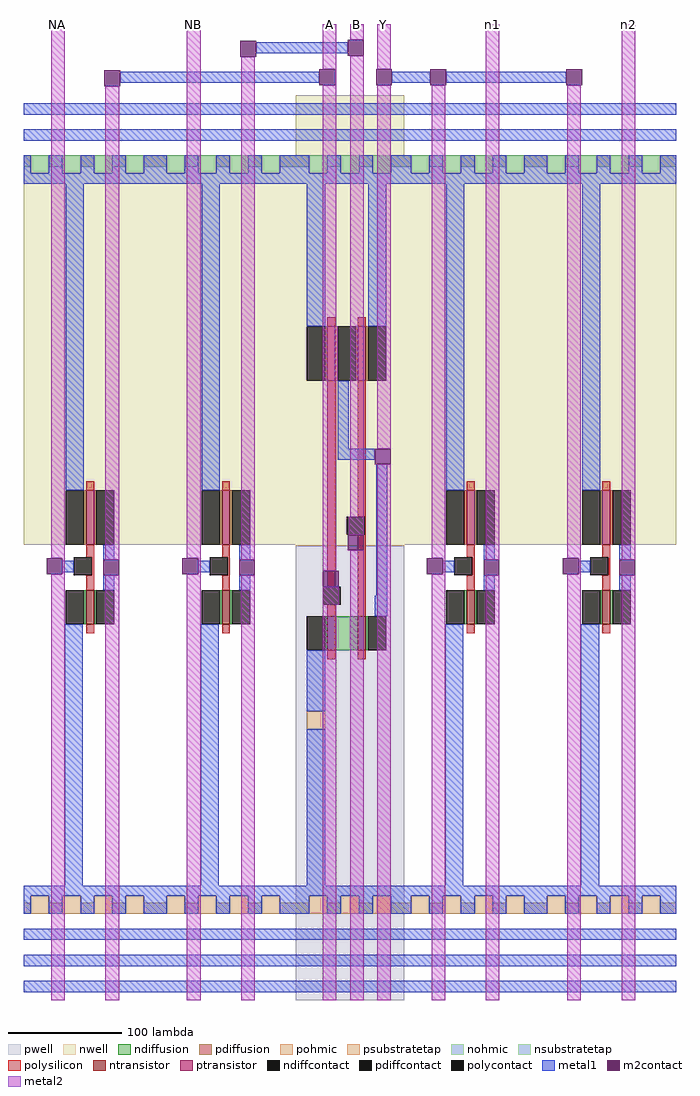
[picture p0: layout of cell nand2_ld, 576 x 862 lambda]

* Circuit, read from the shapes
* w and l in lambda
.subckt nand2_ld A B GND! NA NB Vdd! Y n1 n2
M1 A NA GND! VSUBS nfet w=30 l=7
M2 B NB GND! VSUBS nfet w=30 l=7
M3 n3 A n4 VSUBS nfet w=30 l=7
M4 Y B n3 VSUBS nfet w=30 l=7
M5 n1 Y GND! VSUBS nfet w=30 l=7
M6 n2 Y GND! VSUBS nfet w=30 l=7
M7 A NA Vdd! n5 pfet w=48 l=7
M8 B NB Vdd! n5 pfet w=48 l=7
M9 Y A Vdd! n5 pfet w=48 l=7
M10 Vdd! B Y n5 pfet w=48 l=7
M11 n1 Y Vdd! n5 pfet w=48 l=7
M12 n2 Y Vdd! n5 pfet w=48 l=7
.ends

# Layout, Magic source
magic
tech c035u
<< metal1 >>
rect 205 836 286 846
rect 85 810 261 820
rect 325 810 359 820
rect 373 810 479 820
<< m2contact >>
rect 191 833 205 847
rect 286 834 300 848
rect 71 807 85 821
rect 261 808 275 822
rect 311 808 325 822
rect 359 808 373 822
rect 479 808 493 822
<< metal2 >>
rect 24 799 36 862
rect 72 799 84 807
rect 144 799 156 862
rect 192 799 204 833
rect 264 822 276 862
rect 288 848 300 862
rect 275 808 276 822
rect 264 799 276 808
rect 288 799 300 834
rect 312 822 324 862
rect 312 799 324 808
rect 360 799 372 808
rect 408 799 420 862
rect 480 799 492 808
rect 528 799 540 862
use inv inv_0
transform 1 0 0 0 1 0
box 0 0 120 799
use inv inv_1
transform 1 0 120 0 1 0
box 0 0 120 799
use nand2 nand2_0
transform 1 0 240 0 1 0
box 0 0 96 799
use inv inv_2
transform 1 0 336 0 1 0
box 0 0 120 799
use inv inv_3
transform 1 0 456 0 1 0
box 0 0 120 799
<< labels >>
rlabel metal2 24 862 36 862 5 NA
rlabel metal2 144 862 156 862 5 NB
rlabel metal2 264 862 276 862 5 A
rlabel metal2 288 862 300 862 5 B
rlabel metal2 312 862 324 862 5 Y
rlabel metal2 408 862 420 862 5 n1
rlabel metal2 528 862 540 862 5 n2
<< end >>

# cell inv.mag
magic
tech c035u
<< nwell >>
rect 0 402 120 746
<< polysilicon >>
rect 55 450 62 458
rect 55 391 62 402
rect 60 375 62 391
rect 55 362 62 375
rect 55 324 62 332
<< ndiffusion >>
rect 53 332 55 362
rect 62 332 64 362
<< pdiffusion >>
rect 53 402 55 450
rect 62 402 64 450
<< pohmic >>
rect 0 76 6 86
rect 22 76 34 86
rect 50 76 62 86
rect 78 76 90 86
rect 106 76 120 86
<< nohmic >>
rect 0 736 6 746
rect 22 736 34 746
rect 50 736 62 746
rect 78 736 90 746
rect 106 736 120 746
<< ntransistor >>
rect 55 332 62 362
<< ptransistor >>
rect 55 402 62 450
<< polycontact >>
rect 44 375 60 391
<< ndiffcontact >>
rect 37 332 53 362
rect 64 332 80 362
<< pdiffcontact >>
rect 37 402 53 450
rect 64 402 80 450
<< psubstratetap >>
rect 6 76 22 92
rect 34 76 50 92
rect 62 76 78 92
rect 90 76 106 92
<< nsubstratetap >>
rect 6 730 22 746
rect 34 730 50 746
rect 62 730 78 746
rect 90 730 106 746
<< metal1 >>
rect 0 782 120 792
rect 0 759 120 769
rect 0 730 6 746
rect 22 730 34 746
rect 50 730 62 746
rect 78 730 90 746
rect 106 730 120 746
rect 0 721 120 730
rect 37 450 53 721
rect 34 378 44 388
rect 70 389 80 402
rect 70 362 80 375
rect 36 101 52 332
rect 0 92 120 101
rect 0 76 6 92
rect 22 76 34 92
rect 50 76 62 92
rect 78 76 90 92
rect 106 76 120 92
rect 0 53 120 63
rect 0 30 120 40
rect 0 7 120 17
<< m2contact >>
rect 20 376 34 390
rect 70 375 84 389
<< metal2 >>
rect 24 390 36 799
rect 34 376 36 390
rect 72 389 84 799
rect 24 0 36 376
rect 72 0 84 375
<< labels >>
rlabel metal1 0 721 0 746 7 Vdd!
rlabel metal1 0 759 0 769 7 Scan
rlabel metal1 0 782 0 792 6 ScanReturn
rlabel metal1 120 721 120 746 7 Vdd!
rlabel metal1 120 759 120 769 7 Scan
rlabel metal1 120 782 120 792 6 ScanReturn
rlabel metal2 24 799 36 799 5 A
rlabel metal2 72 799 84 799 5 Y
rlabel metal1 0 76 0 101 7 GND!
rlabel metal1 0 53 0 63 7 Clock
rlabel metal1 0 30 0 40 7 Test
rlabel metal1 0 7 0 17 8 nReset
rlabel metal1 120 7 120 17 8 nReset
rlabel metal1 120 30 120 40 7 Test
rlabel metal1 120 53 120 63 7 Clock
rlabel metal1 120 76 120 101 7 GND!
rlabel metal2 24 0 36 0 1 A
rlabel metal2 72 0 84 0 1 Y
<< end >>

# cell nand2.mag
magic
tech c035u
<< nwell >>
rect 0 401 96 799
<< pwell >>
rect 0 0 96 401
<< polysilicon >>
rect 28 595 35 603
rect 55 595 62 603
rect 28 365 35 547
rect 55 427 62 547
rect 61 411 62 427
rect 28 339 35 349
rect 55 339 62 411
rect 28 301 35 309
rect 55 301 62 309
<< ndiffusion >>
rect 26 309 28 339
rect 35 309 55 339
rect 62 309 64 339
<< pdiffusion >>
rect 26 547 28 595
rect 35 547 37 595
rect 53 547 55 595
rect 62 547 64 595
<< pohmic >>
rect 0 76 12 86
rect 28 76 40 86
rect 56 76 68 86
rect 84 76 96 86
<< nohmic >>
rect 0 736 12 746
rect 28 736 40 746
rect 56 736 68 746
rect 84 736 96 746
<< ntransistor >>
rect 28 309 35 339
rect 55 309 62 339
<< ptransistor >>
rect 28 547 35 595
rect 55 547 62 595
<< polycontact >>
rect 45 411 61 427
rect 24 349 40 365
<< ndiffcontact >>
rect 10 309 26 339
rect 64 309 80 339
<< pdiffcontact >>
rect 10 547 26 595
rect 37 547 53 595
rect 64 547 80 595
<< psubstratetap >>
rect 10 239 26 255
rect 12 76 28 92
rect 40 76 56 92
rect 68 76 84 92
<< nsubstratetap >>
rect 12 730 28 746
rect 40 730 56 746
rect 68 730 84 746
<< metal1 >>
rect 0 782 96 792
rect 0 759 96 769
rect 0 730 12 746
rect 28 730 40 746
rect 56 730 68 746
rect 84 730 96 746
rect 0 721 96 730
rect 10 595 26 721
rect 64 595 80 721
rect 37 487 47 547
rect 37 477 70 487
rect 71 357 81 473
rect 70 339 81 357
rect 10 255 26 309
rect 10 101 26 239
rect 0 92 96 101
rect 0 76 12 92
rect 28 76 40 92
rect 56 76 68 92
rect 84 76 96 92
rect 0 53 96 63
rect 0 30 96 40
rect 0 7 96 17
<< m2contact >>
rect 70 473 84 487
rect 46 397 60 411
rect 24 365 38 379
<< metal2 >>
rect 24 595 36 799
rect 24 547 37 595
rect 24 379 36 547
rect 48 427 60 799
rect 72 487 84 799
rect 47 411 60 427
rect 24 349 38 365
rect 24 0 36 349
rect 48 0 60 397
rect 72 0 84 473
<< labels >>
rlabel metal1 0 53 0 63 3 Clock
rlabel metal1 0 30 0 40 3 Test
rlabel metal1 0 7 0 17 2 nReset
rlabel metal1 0 721 0 746 3 Vdd!
rlabel metal1 0 759 0 769 3 Scan
rlabel metal1 0 782 0 792 4 ScanReturn
rlabel metal2 72 0 84 0 1 Y
rlabel metal2 48 0 60 0 1 B
rlabel metal2 24 0 36 0 1 A
rlabel metal2 72 799 84 799 5 Y
rlabel metal2 48 799 60 799 5 B
rlabel metal2 24 799 36 799 5 A
rlabel metal1 0 76 0 101 3 GND!
rlabel metal1 96 7 96 17 7 nReset
rlabel metal1 96 53 96 63 7 Clock
rlabel metal1 96 30 96 40 7 Test
rlabel metal1 96 76 96 101 7 GND!
rlabel metal1 96 721 96 746 7 Vdd!
rlabel metal1 96 759 96 769 7 Scan
rlabel metal1 96 782 96 792 7 ScanReturn
<< end >>
